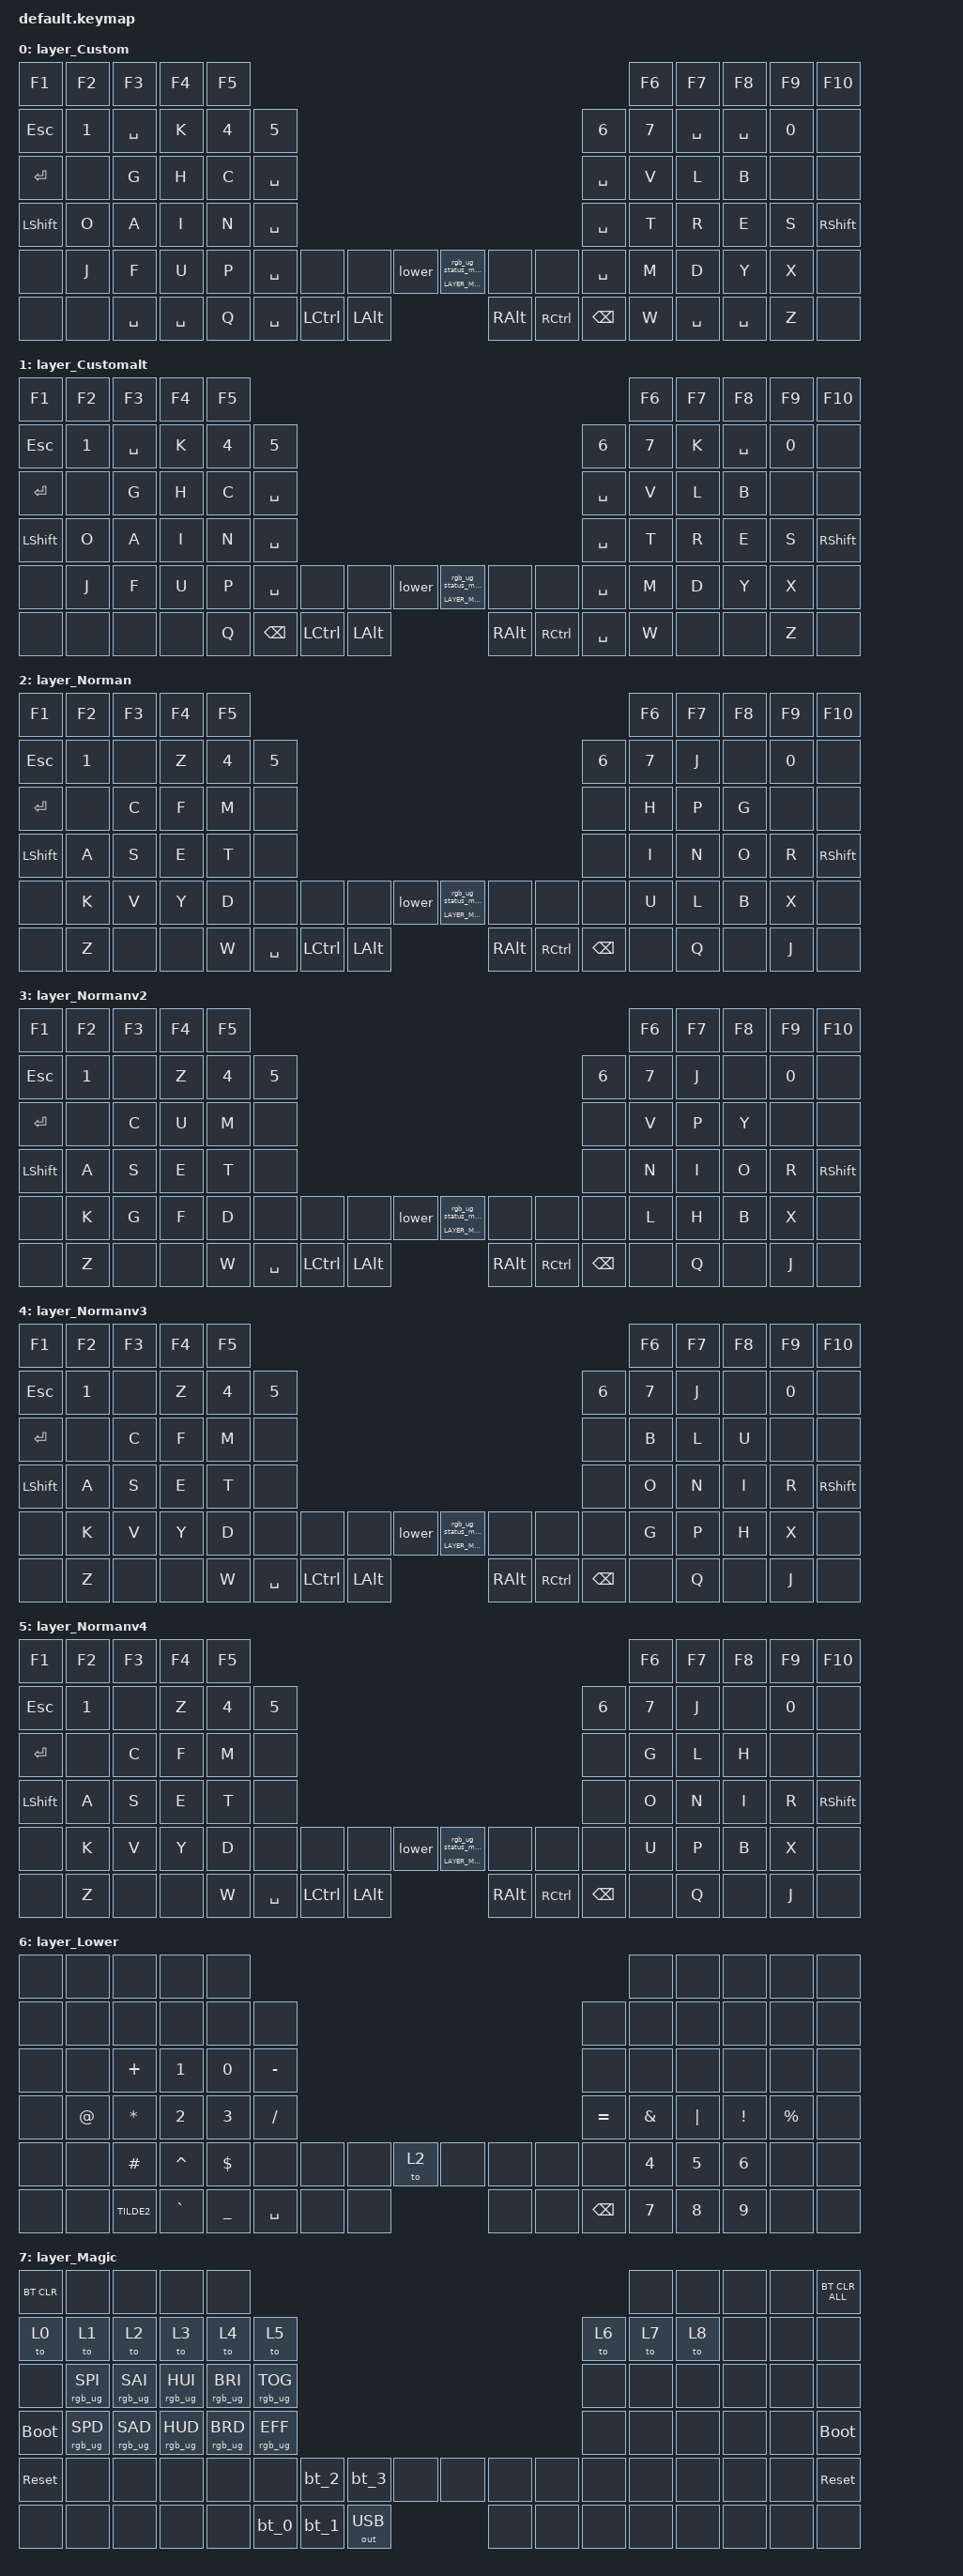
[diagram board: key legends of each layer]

/*
 * Copyright (c) 2020 The ZMK Contributors
 * Copyright (c) 2023 Innaworks Development Limited, trading as MoErgo
 *
 * SPDX-License-Identifier: MIT
 */


/* THIS FILE WAS GENERATED BY GLOVE80 LAYOUT EDITOR
 *
 * This file was generated automatically. You may or may not want to
 * edit it directly.
 */

#include <behaviors.dtsi>
/* Include all behavior includes needed */
#include <dt-bindings/zmk/outputs.h>
#include <dt-bindings/zmk/keys.h>
#include <dt-bindings/zmk/bt.h>
#include <dt-bindings/zmk/rgb.h>

/* Automatically generated layer name #define */
#define LAYER_Custom 0
#define LAYER_Customalt 1
#define LAYER_Norman 2
#define LAYER_Normanv2 3
#define LAYER_Normanv3 4
#define LAYER_Normanv4 5
#define LAYER_Lower 6
#define LAYER_Magic 7

/* To deal with the situation where there is no Lower layer, to keep &lower happy */
#ifndef LAYER_Lower
#define LAYER_Lower 0
#endif

/* Custom Device-tree */



/* Glove80 system behavior & macros */
/ {
    behaviors {
        // For the "layer" key, it'd nice to be able to use it as either a shift or a toggle.
        // Configure it as a tap dance, so the first tap (or hold) is a &mo and the second tap is a &to
        lower: lower {
            compatible = "zmk,behavior-tap-dance";
            label = "LAYER_TAP_DANCE";
            #binding-cells = <0>;
            tapping-term-ms = <200>;
            bindings = <&mo LAYER_Lower>, <&to LAYER_Lower>;
        };
    };
};

/ {
    macros {
        rgb_ug_status_macro: rgb_ug_status_macro {
            label = "RGB_UG_STATUS";
            compatible = "zmk,behavior-macro";
            #binding-cells = <0>;
            bindings
                = <&rgb_ug RGB_STATUS>;
        };
    };
};


/ {
#ifdef BT_DISC_CMD
    behaviors {
        bt_0: bt_0 {
            compatible = "zmk,behavior-tap-dance";
            label = "BT_0";
            #binding-cells = <0>;
            tapping-term-ms = <200>;
            bindings = <&bt_select_0>, <&bt BT_DISC 0>;
        };
        bt_1: bt_1 {
            compatible = "zmk,behavior-tap-dance";
            label = "BT_1";
            #binding-cells = <0>;
            tapping-term-ms = <200>;
            bindings = <&bt_select_1>, <&bt BT_DISC 1>;
        };
        bt_2: bt_2 {
            compatible = "zmk,behavior-tap-dance";
            label = "BT_2";
            #binding-cells = <0>;
            tapping-term-ms = <200>;
            bindings = <&bt_select_2>, <&bt BT_DISC 2>;
        };
        bt_3: bt_3 {
            compatible = "zmk,behavior-tap-dance";
            label = "BT_3";
            #binding-cells = <0>;
            tapping-term-ms = <200>;
            bindings = <&bt_select_3>, <&bt BT_DISC 3>;
        };
    };
    macros {
        bt_select_0: bt_select_0 {
            label = "BT_SELECT_0";
            compatible = "zmk,behavior-macro";
            #binding-cells = <0>;
            bindings
                = <&out OUT_BLE>,
                  <&bt BT_SEL 0>;
        };
        bt_select_1: bt_select_1 {
            label = "BT_SELECT_1";
            compatible = "zmk,behavior-macro";
            #binding-cells = <0>;
            bindings
                = <&out OUT_BLE>,
                  <&bt BT_SEL 1>;
        };
        bt_select_2: bt_select_2 {
            label = "BT_SELECT_2";
            compatible = "zmk,behavior-macro";
            #binding-cells = <0>;
            bindings
                = <&out OUT_BLE>,
                  <&bt BT_SEL 2>;
        };
        bt_select_3: bt_select_3 {
            label = "BT_SELECT_3";
            compatible = "zmk,behavior-macro";
            #binding-cells = <0>;
            bindings
                = <&out OUT_BLE>,
                  <&bt BT_SEL 3>;
        };
    };
#else
    macros {
        bt_0: bt_0 {
            label = "BT_0";
            compatible = "zmk,behavior-macro";
            #binding-cells = <0>;
            bindings
                = <&out OUT_BLE>,
                  <&bt BT_SEL 0>;
        };
        bt_1: bt_1 {
            label = "BT_1";
            compatible = "zmk,behavior-macro";
            #binding-cells = <0>;
            bindings
                = <&out OUT_BLE>,
                  <&bt BT_SEL 1>;
        };
        bt_2: bt_2 {
            label = "BT_2";
            compatible = "zmk,behavior-macro";
            #binding-cells = <0>;
            bindings
                = <&out OUT_BLE>,
                  <&bt BT_SEL 2>;
        };
        bt_3: bt_3 {
            label = "BT_3";
            compatible = "zmk,behavior-macro";
            #binding-cells = <0>;
            bindings
                = <&out OUT_BLE>,
                  <&bt BT_SEL 3>;
        };
    };
#endif
};

/ {
    behaviors {
        magic: magic {
            compatible = "zmk,behavior-hold-tap";
            label = "MAGIC_HOLD_TAP";
            #binding-cells = <2>;
            flavor = "tap-preferred";
            tapping-term-ms = <200>;
            bindings = <&mo>, <&rgb_ug_status_macro>;
        };
    };
};

/* #define for key positions */
#define POS_LH_T1 52
#define POS_LH_T2 53
#define POS_LH_T3 54
#define POS_LH_T4 69
#define POS_LH_T5 70
#define POS_LH_T6 71
#define POS_LH_C1R2 15
#define POS_LH_C1R3 27
#define POS_LH_C1R4 39
#define POS_LH_C1R5 51
#define POS_LH_C2R1 4
#define POS_LH_C2R2 14
#define POS_LH_C2R3 26
#define POS_LH_C2R4 38
#define POS_LH_C2R5 50
#define POS_LH_C2R6 68
#define POS_LH_C3R1 3
#define POS_LH_C3R2 13
#define POS_LH_C3R3 25
#define POS_LH_C3R4 37
#define POS_LH_C3R5 49
#define POS_LH_C3R6 67
#define POS_LH_C4R1 2
#define POS_LH_C4R2 12
#define POS_LH_C4R3 24
#define POS_LH_C4R4 36
#define POS_LH_C4R5 48
#define POS_LH_C4R6 66
#define POS_LH_C5R1 1
#define POS_LH_C5R2 11
#define POS_LH_C5R3 23
#define POS_LH_C5R4 35
#define POS_LH_C5R5 47
#define POS_LH_C5R6 65
#define POS_LH_C6R1 0
#define POS_LH_C6R2 10
#define POS_LH_C6R3 22
#define POS_LH_C6R4 34
#define POS_LH_C6R5 46
#define POS_LH_C6R6 64
#define POS_RH_T1 57
#define POS_RH_T2 56
#define POS_RH_T3 55
#define POS_RH_T4 74
#define POS_RH_T5 73
#define POS_RH_T6 72
#define POS_RH_C1R2 16
#define POS_RH_C1R3 28
#define POS_RH_C1R4 40
#define POS_RH_C1R5 58
#define POS_RH_C2R1 5
#define POS_RH_C2R2 17
#define POS_RH_C2R3 29
#define POS_RH_C2R4 41
#define POS_RH_C2R5 59
#define POS_RH_C2R6 75
#define POS_RH_C3R1 6
#define POS_RH_C3R2 18
#define POS_RH_C3R3 30
#define POS_RH_C3R4 42
#define POS_RH_C3R5 60
#define POS_RH_C3R6 76
#define POS_RH_C4R1 7
#define POS_RH_C4R2 19
#define POS_RH_C4R3 31
#define POS_RH_C4R4 43
#define POS_RH_C4R5 61
#define POS_RH_C4R6 77
#define POS_RH_C5R1 8
#define POS_RH_C5R2 20
#define POS_RH_C5R3 32
#define POS_RH_C5R4 44
#define POS_RH_C5R5 62
#define POS_RH_C5R6 78
#define POS_RH_C6R1 9
#define POS_RH_C6R2 21
#define POS_RH_C6R3 33
#define POS_RH_C6R4 45
#define POS_RH_C6R5 63
#define POS_RH_C6R6 79

/* Custom Defined Behaviors */
/ {
// CFM
// SET
// PBD
// ----
// Shift ET
// Ctrl SE
// Win EM/ED
// Alt EC/EP

// Ctrl shift CS/CES

// Alt Ctrl CF
// Ctrl win FM
// Alt Ctrl win CFM

// Alt shift PB
// Shift Win BD
// Alt shift win PBD

// Win alt PD/CM

// Ctrl shift win AC
// Ctrl shift alt AS
// Ctrl shit alt win ASC

// 24 25 26
// 36 37 38
// 48 49 50


behaviors {
        bhm: balanced_homerow_mods {
            compatible = "zmk,behavior-hold-tap";
            #binding-cells = <2>;
            tapping-term-ms = <200>;    // <---[[moderate duration]]
            quick-tap-ms = <0>;
            flavor = "balanced";
            bindings = <&kp>, <&kp>;
        };
};


    //
    // Glove80 key positions index for positional hold-tap
    // - https://discord.com/channels/877392805654306816/937645688244826154/1066713913351221248
    // - https://media.discordapp.net/attachments/937645688244826154/1066713913133121556/image.png
    //
    // |------------------------|------------------------|
    // | LEFT_HAND_KEYS         |        RIGHT_HAND_KEYS |
    // |                        |                        |
    // |  0  1  2  3  4         |          5  6  7  8  9 |
    // | 10 11 12 13 14 15      |      16 17 18 19 20 21 |
    // | 22 23 24 25 26 27      |      28 29 30 31 32 33 |
    // | 34 35 36 37 38 39      |      40 41 42 43 44 45 |
    // | 46 47 48 49 50 51      |      58 59 60 61 62 63 |
    // | 64 65 66 67 68         |         75 76 77 78 79 |
    // |                69 52   |   57 74                |
    // |                 70 53  |  56 73                 |
    // |                  71 54 | 55 72                  |
    // |------------------------|------------------------|
    //

macros {



  // Function arrow: ->
  func_arrow: function_arrow {
    compatible = "zmk,behavior-macro";
    label = "FUNCTION_ARROW";
    #binding-cells = <0>;
    tap-ms = <0>;
    wait-ms = <0>;
    bindings
    = <&macro_tap &kp MINUS &kp GREATER_THAN>
    ;
  };

  and_short: and_short{
    compatible = "zmk,behavior-macro";
    label = "AND_SHORT";
    #binding-cells = <0>;
    tap-ms = <0>;
    wait-ms = <0>;
    bindings
    = <&macro_tap &kp AMPERSAND &kp AMPERSAND>
    ;
  };

  or_short: or_short{
    compatible = "zmk,behavior-macro";
    label = "OR_SHORT";
    #binding-cells = <0>;
    tap-ms = <0>;
    wait-ms = <0>;
    bindings
    = <&macro_tap &kp PIPE &kp PIPE>
    ;
  };

  neq_short: neq_short{
    compatible = "zmk,behavior-macro";
    label = "NEQ_SHORT";
    #binding-cells = <0>;
    tap-ms = <0>;
    wait-ms = <0>;
    bindings
    = <&macro_tap &kp EXCLAMATION &kp EQUAL>
    ;
  };

  eq_short: eq_short{
      compatible = "zmk,behavior-macro";
      label = "EQ_SHORT";
      #binding-cells = <0>;
      tap-ms = <0>;
      wait-ms = <0>;
      bindings
      = <&macro_tap &kp EQUAL &kp EQUAL>
      ;
    };
};



combos {
    compatible = "zmk,combos";
      
      

    combo_CF_L {
        timeout-ms = <40>;
        key-positions = <24 25>;
        bindings = <&kp LC(LALT)>;
    };
           
    combo_CF_R {
        timeout-ms = <40>;
        key-positions = <31 30>;
        bindings = <&kp LC(LALT)>;
    };
           

    combo_FM_L {
        timeout-ms = <40>;
        key-positions = <25 26>;
        bindings = <&kp LC(LGUI)>;
    };
           
    combo_FM_R {
        timeout-ms = <40>;
        key-positions = <30 29>;
        bindings = <&kp LC(LGUI)>;
    };
           

    combo_CM_L {
        timeout-ms = <40>;
        key-positions = <24 26>;
        bindings = <&kp LA(LGUI)>;
    };
           
    combo_CM_R {
        timeout-ms = <40>;
        key-positions = <31 29>;
        bindings = <&kp LA(LGUI)>;
    };
           

    combo_CFM_L {
        timeout-ms = <40>;
        key-positions = <24 25 26>;
        bindings = <&kp LA(LC(LGUI))>;
    };
           
    combo_CFM_R {
        timeout-ms = <40>;
        key-positions = <31 30 29>;
        bindings = <&kp LA(LC(LGUI))>;
    };
           

    combo_SE_L {
        timeout-ms = <40>;
        key-positions = <36 37>;
        bindings = <&kp LCTRL>;
    };
           
    combo_SE_R {
        timeout-ms = <40>;
        key-positions = <43 42>;
        bindings = <&kp LCTRL>;
    };
           

    combo_ET_L {
        timeout-ms = <40>;
        key-positions = <37 38>;
        bindings = <&kp LSHIFT>;
    };
           
    combo_ET_R {
        timeout-ms = <40>;
        key-positions = <42 41>;
        bindings = <&kp LSHIFT>;
    };
           

    combo_ST_L {
        timeout-ms = <40>;
        key-positions = <36 38>;
        bindings = <&kp LS(LCTRL)>;
    };
           
    combo_ST_R {
        timeout-ms = <40>;
        key-positions = <43 41>;
        bindings = <&kp LS(LCTRL)>;
    };
           

    combo_EC_L {
        timeout-ms = <40>;
        key-positions = <37 24>;
        bindings = <&kp LALT>;
    };
           
    combo_EC_R {
        timeout-ms = <40>;
        key-positions = <42 31>;
        bindings = <&kp LALT>;
    };
           

    combo_EP_L {
        timeout-ms = <40>;
        key-positions = <37 48>;
        bindings = <&kp LALT>;
    };
           
    combo_EP_R {
        timeout-ms = <40>;
        key-positions = <42 61>;
        bindings = <&kp LALT>;
    };
           

    combo_EM_L {
        timeout-ms = <40>;
        key-positions = <37 26>;
        bindings = <&kp LGUI>;
    };
           
    combo_EM_R {
        timeout-ms = <40>;
        key-positions = <42 29>;
        bindings = <&kp LGUI>;
    };
           

    combo_ED_L {
        timeout-ms = <40>;
        key-positions = <37 50>;
        bindings = <&kp LGUI>;
    };
           
    combo_ED_R {
        timeout-ms = <40>;
        key-positions = <42 59>;
        bindings = <&kp LGUI>;
    };
           

    combo_PB_L {
        timeout-ms = <40>;
        key-positions = <48 49>;
        bindings = <&kp LS(LALT)>;
    };
           
    combo_PB_R {
        timeout-ms = <40>;
        key-positions = <61 60>;
        bindings = <&kp LS(LALT)>;
    };
           

    combo_BD_L {
        timeout-ms = <40>;
        key-positions = <49 50>;
        bindings = <&kp LS(LGUI)>;
    };
           
    combo_BD_R {
        timeout-ms = <40>;
        key-positions = <60 59>;
        bindings = <&kp LS(LGUI)>;
    };
           

    combo_PD_L {
        timeout-ms = <40>;
        key-positions = <48 50>;
        bindings = <&kp LA(LGUI)>;
    };
           
    combo_PD_R {
        timeout-ms = <40>;
        key-positions = <61 59>;
        bindings = <&kp LA(LGUI)>;
    };
           

    combo_PBD_L {
        timeout-ms = <40>;
        key-positions = <48 49 50>;
        bindings = <&kp LA(LS(LGUI))>;
    };
           
    combo_PBD_R {
        timeout-ms = <40>;
        key-positions = <61 60 59>;
        bindings = <&kp LA(LS(LGUI))>;
    };
           

    combo_AC_L {
        timeout-ms = <30>;
        key-positions = <35 24>;
        bindings = <&kp LC(LS(LGUI))>;
    };
           
    combo_AC_R {
        timeout-ms = <30>;
        key-positions = <44 31>;
        bindings = <&kp LC(LS(LGUI))>;
    };
           

    combo_AB_L {
        timeout-ms = <30>;
        key-positions = <35 49>;
        bindings = <&kp LC(LS(LALT))>;
    };
           
    combo_AB_R {
        timeout-ms = <30>;
        key-positions = <44 60>;
        bindings = <&kp LC(LS(LALT))>;
    };
           
};

};

/* Automatically generated macro definitions */
/ {
    macros {
    
    };
};

/* Automatically generated keymap */
/ {
    keymap {
        compatible = "zmk,keymap";


        layer_Custom {
            bindings = <
    &kp F1  &kp F2     &kp F3     &kp F4  &kp F5                                                                                                   &kp F6     &kp F7     &kp F8  &kp F9    &kp F10
   &kp ESC  &kp N1  &kp SPACE      &kp K  &kp N4     &kp N5                                                                                &kp N6  &kp N7  &kp SPACE  &kp SPACE  &kp N0      &none
   &kp RET   &none      &kp G      &kp H   &kp C  &kp SPACE                                                                             &kp SPACE   &kp V      &kp L      &kp B   &none      &none
 &kp LSHFT   &kp O      &kp A      &kp I   &kp N  &kp SPACE                                                                             &kp SPACE   &kp T      &kp R      &kp E   &kp S  &kp RSHFT
     &none   &kp J      &kp F      &kp U   &kp P  &kp SPACE      &none      &none    &lower  &magic LAYER_Magic 0      &none     &none  &kp SPACE   &kp M      &kp D      &kp Y   &kp X      &none
     &none   &none  &kp SPACE  &kp SPACE   &kp Q             &kp SPACE  &kp LCTRL  &kp LALT              &kp RALT  &kp RCTRL  &kp BSPC              &kp W  &kp SPACE  &kp SPACE   &kp Z      &none
            >;
        };

        layer_Customalt {
            bindings = <
    &kp F1  &kp F2     &kp F3  &kp F4  &kp F5                                                                                                   &kp F6  &kp F7     &kp F8  &kp F9    &kp F10
   &kp ESC  &kp N1  &kp SPACE   &kp K  &kp N4     &kp N5                                                                                &kp N6  &kp N7   &kp K  &kp SPACE  &kp N0      &none
   &kp RET   &none      &kp G   &kp H   &kp C  &kp SPACE                                                                             &kp SPACE   &kp V   &kp L      &kp B   &none      &none
 &kp LSHFT   &kp O      &kp A   &kp I   &kp N  &kp SPACE                                                                             &kp SPACE   &kp T   &kp R      &kp E   &kp S  &kp RSHFT
     &none   &kp J      &kp F   &kp U   &kp P  &kp SPACE     &none      &none    &lower  &magic LAYER_Magic 0      &none      &none  &kp SPACE   &kp M   &kp D      &kp Y   &kp X      &none
     &none   &none      &none   &none   &kp Q             &kp BSPC  &kp LCTRL  &kp LALT              &kp RALT  &kp RCTRL  &kp SPACE              &kp W   &none      &none   &kp Z      &none
            >;
        };

        layer_Norman {
            bindings = <
    &kp F1  &kp F2  &kp F3  &kp F4  &kp F5                                                                                             &kp F6  &kp F7  &kp F8  &kp F9    &kp F10
   &kp ESC  &kp N1   &none   &kp Z  &kp N4  &kp N5                                                                             &kp N6  &kp N7   &kp J   &none  &kp N0      &none
   &kp RET   &none   &kp C   &kp F   &kp M   &none                                                                              &none   &kp H   &kp P   &kp G   &none      &none
 &kp LSHFT   &kp A   &kp S   &kp E   &kp T   &none                                                                              &none   &kp I   &kp N   &kp O   &kp R  &kp RSHFT
     &none   &kp K   &kp V   &kp Y   &kp D   &none      &none      &none    &lower  &magic LAYER_Magic 0      &none     &none   &none   &kp U   &kp L   &kp B   &kp X      &none
     &none   &kp Z   &none   &none   &kp W          &kp SPACE  &kp LCTRL  &kp LALT              &kp RALT  &kp RCTRL  &kp BSPC           &none   &kp Q   &none   &kp J      &none
            >;
        };

        layer_Normanv2 {
            bindings = <
    &kp F1  &kp F2  &kp F3  &kp F4  &kp F5                                                                                             &kp F6  &kp F7  &kp F8  &kp F9    &kp F10
   &kp ESC  &kp N1   &none   &kp Z  &kp N4  &kp N5                                                                             &kp N6  &kp N7   &kp J   &none  &kp N0      &none
   &kp RET   &none   &kp C   &kp U   &kp M   &none                                                                              &none   &kp V   &kp P   &kp Y   &none      &none
 &kp LSHFT   &kp A   &kp S   &kp E   &kp T   &none                                                                              &none   &kp N   &kp I   &kp O   &kp R  &kp RSHFT
     &none   &kp K   &kp G   &kp F   &kp D   &none      &none      &none    &lower  &magic LAYER_Magic 0      &none     &none   &none   &kp L   &kp H   &kp B   &kp X      &none
     &none   &kp Z   &none   &none   &kp W          &kp SPACE  &kp LCTRL  &kp LALT              &kp RALT  &kp RCTRL  &kp BSPC           &none   &kp Q   &none   &kp J      &none
            >;
        };

        layer_Normanv3 {
            bindings = <
    &kp F1  &kp F2  &kp F3  &kp F4  &kp F5                                                                                             &kp F6  &kp F7  &kp F8  &kp F9    &kp F10
   &kp ESC  &kp N1   &none   &kp Z  &kp N4  &kp N5                                                                             &kp N6  &kp N7   &kp J   &none  &kp N0      &none
   &kp RET   &none   &kp C   &kp F   &kp M   &none                                                                              &none   &kp B   &kp L   &kp U   &none      &none
 &kp LSHFT   &kp A   &kp S   &kp E   &kp T   &none                                                                              &none   &kp O   &kp N   &kp I   &kp R  &kp RSHFT
     &none   &kp K   &kp V   &kp Y   &kp D   &none      &none      &none    &lower  &magic LAYER_Magic 0      &none     &none   &none   &kp G   &kp P   &kp H   &kp X      &none
     &none   &kp Z   &none   &none   &kp W          &kp SPACE  &kp LCTRL  &kp LALT              &kp RALT  &kp RCTRL  &kp BSPC           &none   &kp Q   &none   &kp J      &none
            >;
        };

        layer_Normanv4 {
            bindings = <
    &kp F1  &kp F2  &kp F3  &kp F4  &kp F5                                                                                             &kp F6  &kp F7  &kp F8  &kp F9    &kp F10
   &kp ESC  &kp N1   &none   &kp Z  &kp N4  &kp N5                                                                             &kp N6  &kp N7   &kp J   &none  &kp N0      &none
   &kp RET   &none   &kp C   &kp F   &kp M   &none                                                                              &none   &kp G   &kp L   &kp H   &none      &none
 &kp LSHFT   &kp A   &kp S   &kp E   &kp T   &none                                                                              &none   &kp O   &kp N   &kp I   &kp R  &kp RSHFT
     &none   &kp K   &kp V   &kp Y   &kp D   &none      &none      &none    &lower  &magic LAYER_Magic 0      &none     &none   &none   &kp U   &kp P   &kp B   &kp X      &none
     &none   &kp Z   &none   &none   &kp W          &kp SPACE  &kp LCTRL  &kp LALT              &kp RALT  &kp RCTRL  &kp BSPC           &none   &kp Q   &none   &kp J      &none
            >;
        };

        layer_Lower {
            bindings = <
  &none   &none       &none      &none      &none                                                                                &none     &none     &none      &none   &none
  &none   &none       &none      &none      &none      &none                                                           &none     &none     &none     &none      &none   &none
  &none   &none    &kp PLUS     &kp N1     &kp N0  &kp MINUS                                                           &none     &none     &none     &none      &none   &none
  &none  &kp AT    &kp STAR     &kp N2     &kp N3   &kp FSLH                                                       &kp EQUAL  &kp AMPS  &kp PIPE  &kp EXCL  &kp PRCNT   &none
  &none   &none    &kp HASH  &kp CARET   &kp DLLR      &none      &none   &none   &to 2   &none   &none     &none      &none    &kp N4    &kp N5    &kp N6      &none   &none
  &none   &none  &kp TILDE2  &kp GRAVE  &kp UNDER             &kp SPACE   &none   &none   &none   &none  &kp BSPC               &kp N7    &kp N8    &kp N9      &none   &none
            >;
        };

        layer_Magic {
            bindings = <
  &bt BT_CLR            &none            &none            &none            &none                                                                                  &none   &none   &none   &none  &bt BT_CLR_ALL
       &to 0            &to 1            &to 2            &to 3            &to 4            &to 5                                                         &to 6   &to 7   &to 8   &none   &none           &none
       &none  &rgb_ug RGB_SPI  &rgb_ug RGB_SAI  &rgb_ug RGB_HUI  &rgb_ug RGB_BRI  &rgb_ug RGB_TOG                                                         &none   &none   &none   &none   &none           &none
 &bootloader  &rgb_ug RGB_SPD  &rgb_ug RGB_SAD  &rgb_ug RGB_HUD  &rgb_ug RGB_BRD  &rgb_ug RGB_EFF                                                         &none   &none   &none   &none   &none     &bootloader
  &sys_reset            &none            &none            &none            &none            &none   &bt_2   &bt_3         &none   &none   &none   &none   &none   &none   &none   &none   &none      &sys_reset
       &none            &none            &none            &none            &none                    &bt_0   &bt_1  &out OUT_USB   &none   &none   &none           &none   &none   &none   &none           &none
            >;
        };

    };
};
